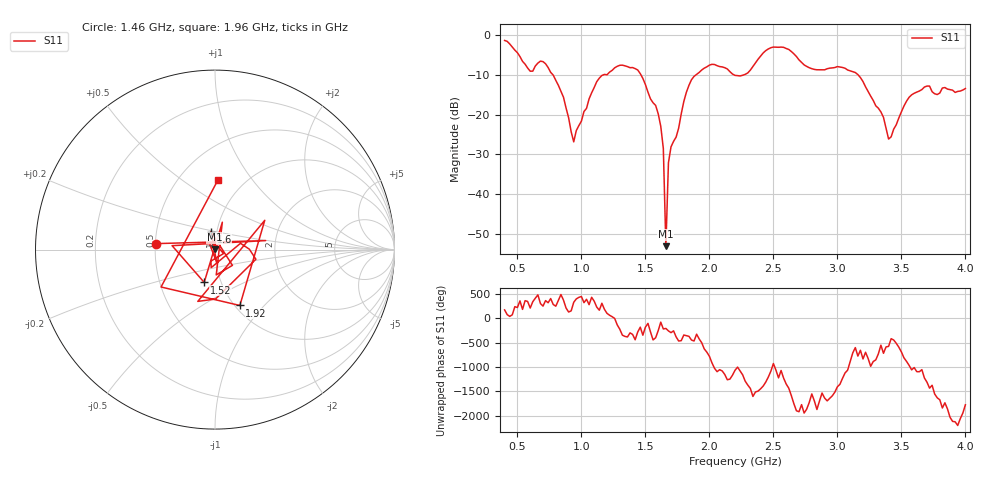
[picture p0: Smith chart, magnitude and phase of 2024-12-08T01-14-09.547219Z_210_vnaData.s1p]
!Created with skrf (http://scikit-rf.org).
# Hz S RI R 50.0
!freq ReS11 ImS11
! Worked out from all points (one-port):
!   181 points, 400 MHz to 4 GHz, reference 50 ohm
!   lowest |S11| = -53.1 dB at 1.66 GHz (marker M1), VSWR 1.00, Z = 49.8 + j0.114 ohm
!   |S11| at or under -10 dB: 779.1 MHz to 1.169 GHz (389.6 MHz wide, 40 % of centre); 1.466 GHz to 1.894 GHz (428.2 MHz wide, 25.5 % of centre); 3.163 GHz to end of sweep (the widest 3 of 4)
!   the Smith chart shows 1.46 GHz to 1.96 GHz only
!   S11 on the Smith chart (normalised r, x): 1.46 GHz: 0.51, +0.04; 1.52 GHz: 0.83, -0.32; 1.6 GHz: 0.94, +0.19; 1.92 GHz: 1.05, -0.74; 1.96 GHz: 0.76, +0.69
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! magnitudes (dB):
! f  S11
! 400 MHz  -1.3
! 600 MHz  -9.0
! 720 MHz  -7.2
! 860 MHz  -15.6
! 940 MHz  -26.8
! 1.12 GHz  -11.7
! 1.3 GHz  -7.5
! 1.46 GHz  -9.7
! 1.52 GHz  -14.3
! 1.6 GHz  -19.8
! 1.64 GHz  -28.5
! 1.66 GHz  -53.1
! 1.68 GHz  -32.1
! 1.76 GHz  -23.3
! 1.84 GHz  -12.6
! 1.92 GHz  -9.4
! 1.96 GHz  -8.3
! 2.2 GHz  -10.1
! 2.48 GHz  -3.1
! 2.66 GHz  -4.7
! 2.8 GHz  -8.4
! 3.1 GHz  -9.0
! 3.34 GHz  -19.3
! 3.4 GHz  -26.1
! 3.56 GHz  -15.6
! 3.7 GHz  -12.8
! 3.78 GHz  -14.9
! 4 GHz  -13.4
